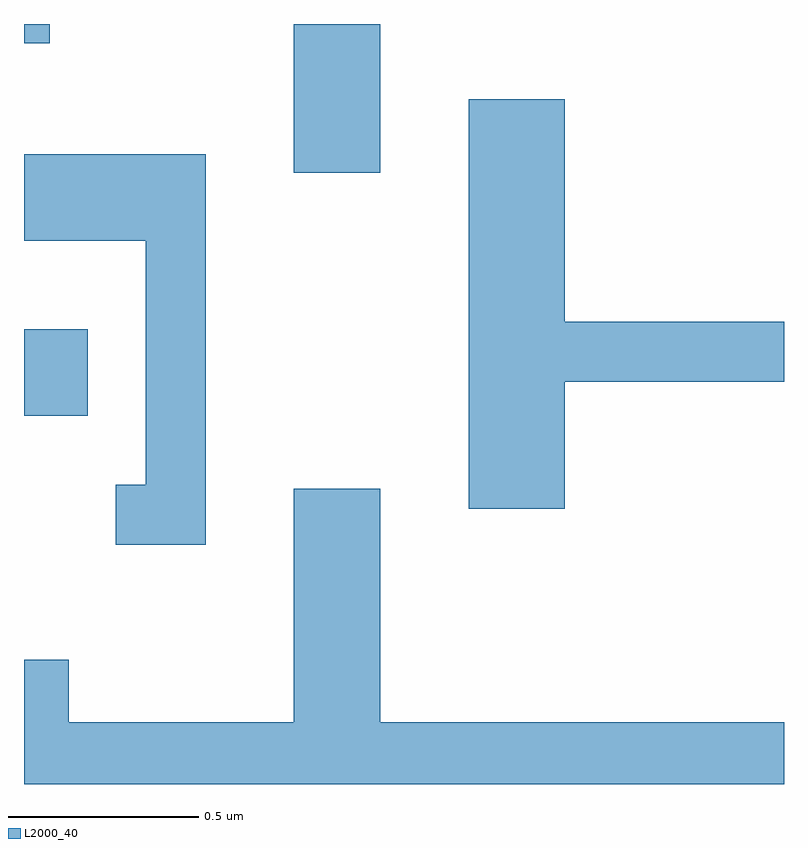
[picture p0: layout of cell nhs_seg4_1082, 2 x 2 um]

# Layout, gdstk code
import gdstk
lib = gdstk.Library(unit=1e-6, precision=1e-09)
def R(c, l, rs):  # rectangles x0, y0, x1, y1
    for r in rs: c.add(gdstk.rectangle(r[:2], r[2:], *l))
def P(c, l, *ps):  # polygons
    for p in ps: c.add(gdstk.Polygon(p, *l))
L2000_40 = (2000, 40)

nhs_seg4_1082 = lib.new_cell('nhs_seg4_1082')
R(nhs_seg4_1082, L2000_40, [(192.611,1377.951,192.779,1378.179), (193.321,1378.591,193.549,1378.982), (192.611,1378.931,192.679,1378.982)])
P(nhs_seg4_1082, L2000_40, [(194.034,1378.041),(194.611,1378.041),(194.611,1378.199),(194.034,1378.199),(194.034,1378.784),(193.781,1378.784),(193.781,1377.706),(194.034,1377.706)],
  [(193.089,1378.639),(192.611,1378.639),(192.611,1378.411),(192.931,1378.411),(192.931,1377.769),(192.853,1377.769),(192.853,1377.611),(193.089,1377.611)],
  [(194.611,1377.144),(193.549,1377.144),(193.549,1377.759),(193.321,1377.759),(193.321,1377.144),(192.729,1377.144),(192.729,1377.309),(192.611,1377.309),(192.611,1376.982),(194.611,1376.982)])

lib.write_gds('nhs_seg4_1082.gds')
